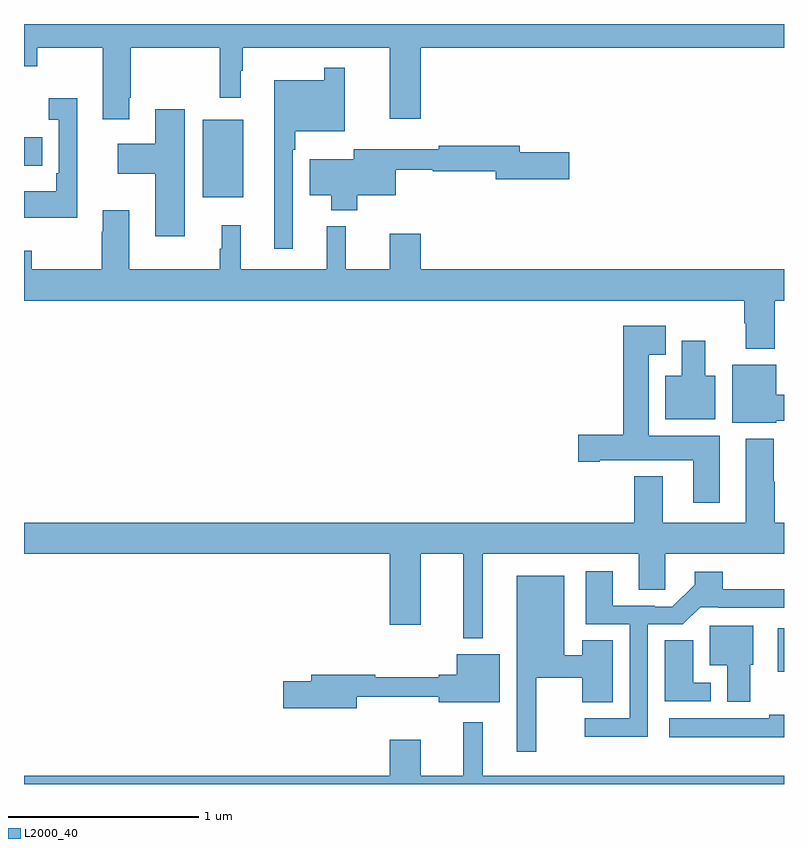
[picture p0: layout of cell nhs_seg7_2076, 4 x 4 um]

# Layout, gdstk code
import gdstk
lib = gdstk.Library(unit=1e-6, precision=1e-09)
def R(c, l, rs):  # rectangles x0, y0, x1, y1
    for r in rs: c.add(gdstk.rectangle(r[:2], r[2:], *l))
def P(c, l, *ps):  # polygons
    for p in ps: c.add(gdstk.Polygon(p, *l))
L2000_40 = (2000, 40)

nhs_seg7_2076 = lib.new_cell('nhs_seg7_2076')
R(nhs_seg7_2076, L2000_40, [(250.967,1070.591,251,1070.821), (247.94,1073.087,248.155,1073.497), (247,1073.255,247.097,1073.403)])
P(nhs_seg7_2076, L2000_40, [(247,1073.777),(247.071,1073.777),(247.071,1073.876),(247.415,1073.876),(247.415,1073.499),(247.555,1073.499),(247.555,1073.611),(247.563,1073.611),(247.563,1073.876),(248.031,1073.876),(248.031,1073.613),(248.14,1073.613),(248.14,1073.753),(248.152,1073.753),(248.152,1073.876),(248.924,1073.876),(248.924,1073.502),(249.088,1073.502),(249.088,1073.876),(251,1073.876),(251,1074),(247,1074)],
  [(248.415,1073.339),(248.428,1073.339),(248.428,1073.435),(248.688,1073.435),(248.688,1073.77),(248.58,1073.77),(248.58,1073.704),(248.318,1073.704),(248.318,1072.818),(248.415,1072.818)],
  [(247.28,1073.608),(247.131,1073.608),(247.131,1073.495),(247.182,1073.495),(247.182,1073.215),(247.17,1073.215),(247.17,1073.119),(247,1073.119),(247,1072.979),(247.28,1072.979)],
  [(247.846,1073.551),(247.691,1073.551),(247.691,1073.371),(247.494,1073.371),(247.494,1073.213),(247.691,1073.213),(247.691,1072.884),(247.846,1072.884)],
  [(248.753,1073.099),(248.956,1073.099),(248.956,1073.232),(249.152,1073.232),(249.152,1073.224),(249.482,1073.224),(249.482,1073.182),(249.871,1073.182),(249.871,1073.324),(249.61,1073.324),(249.61,1073.36),(249.184,1073.36),(249.184,1073.341),(248.735,1073.341),(248.735,1073.287),(248.504,1073.287),(248.504,1073.099),(248.618,1073.099),(248.618,1073.021),(248.753,1073.021)],
  [(250.952,1072.544),(251,1072.544),(251,1072.708),(249.088,1072.708),(249.088,1072.897),(248.924,1072.897),(248.924,1072.708),(248.694,1072.708),(248.694,1072.936),(248.594,1072.936),(248.594,1072.708),(248.141,1072.708),(248.141,1072.942),(248.042,1072.942),(248.042,1072.817),(248.031,1072.817),(248.031,1072.708),(247.555,1072.708),(247.555,1073.02),(247.415,1073.02),(247.415,1072.907),(247.408,1072.907),(247.408,1072.708),(247.041,1072.708),(247.041,1072.807),(247,1072.807),(247,1072.544),(250.792,1072.544),(250.792,1072.424),(250.799,1072.424),(250.799,1072.292),(250.952,1072.292)],
  [(250.663,1071.832),(250.288,1071.832),(250.288,1072.259),(250.378,1072.259),(250.378,1072.411),(250.154,1072.411),(250.154,1071.839),(249.918,1071.839),(249.918,1071.697),(250.03,1071.697),(250.03,1071.704),(250.523,1071.704),(250.523,1071.48),(250.663,1071.48)],
  [(250.639,1072.15),(250.585,1072.15),(250.585,1072.333),(250.463,1072.333),(250.463,1072.15),(250.376,1072.15),(250.376,1071.92),(250.639,1071.92)],
  [(250.96,1071.913),(251,1071.913),(251,1072.049),(250.96,1072.049),(250.96,1072.207),(250.727,1072.207),(250.727,1071.902),(250.96,1071.902)],
  [(250.235,1071.022),(250.374,1071.022),(250.374,1071.212),(251,1071.212),(251,1071.376),(250.952,1071.376),(250.952,1071.591),(250.947,1071.591),(250.947,1071.817),(250.799,1071.817),(250.799,1071.376),(250.363,1071.376),(250.363,1071.619),(250.211,1071.619),(250.211,1071.376),(247,1071.376),(247,1071.212),(248.924,1071.212),(248.924,1070.838),(249.088,1070.838),(249.088,1071.212),(249.311,1071.212),(249.311,1070.768),(249.415,1070.768),(249.415,1071.212),(250.235,1071.212)],
  [(250.284,1070.841),(250.468,1070.841),(250.558,1070.931),(250.654,1070.931),(250.654,1070.928),(251,1070.928),(251,1071.026),(250.677,1071.026),(250.677,1071.118),(250.529,1071.118),(250.529,1071.05),(250.413,1070.934),(250.319,1070.934),(250.319,1070.937),(250.099,1070.937),(250.099,1071.121),(249.956,1071.121),(249.956,1070.841),(250.188,1070.841),(250.188,1070.346),(249.951,1070.346),(249.951,1070.249),(250.284,1070.249)],
  [(249.697,1070.56),(249.938,1070.56),(249.938,1070.431),(250.099,1070.431),(250.099,1070.756),(249.938,1070.756),(249.938,1070.677),(249.844,1070.677),(249.844,1071.097),(249.593,1071.097),(249.593,1070.169),(249.697,1070.169)],
  [(250.822,1070.628),(250.837,1070.628),(250.837,1070.833),(250.61,1070.833),(250.61,1070.624),(250.7,1070.624),(250.7,1070.432),(250.822,1070.432)],
  [(250.615,1070.532),(250.522,1070.532),(250.522,1070.756),(250.373,1070.756),(250.373,1070.436),(250.615,1070.436)],
  [(248.752,1070.458),(249.182,1070.458),(249.182,1070.429),(249.505,1070.429),(249.505,1070.683),(249.278,1070.683),(249.278,1070.576),(249.182,1070.576),(249.182,1070.561),(248.848,1070.561),(248.848,1070.576),(248.513,1070.576),(248.513,1070.54),(248.364,1070.54),(248.364,1070.398),(248.752,1070.398)],
  [(251,1070.365),(250.923,1070.365),(250.923,1070.347),(250.395,1070.347),(250.395,1070.246),(251,1070.246)],
  [(251,1070.044),(249.415,1070.044),(249.415,1070.326),(249.311,1070.326),(249.311,1070.044),(249.088,1070.044),(249.088,1070.233),(248.924,1070.233),(248.924,1070.044),(247,1070.044),(247,1070),(251,1070)])

lib.write_gds('nhs_seg7_2076.gds')
